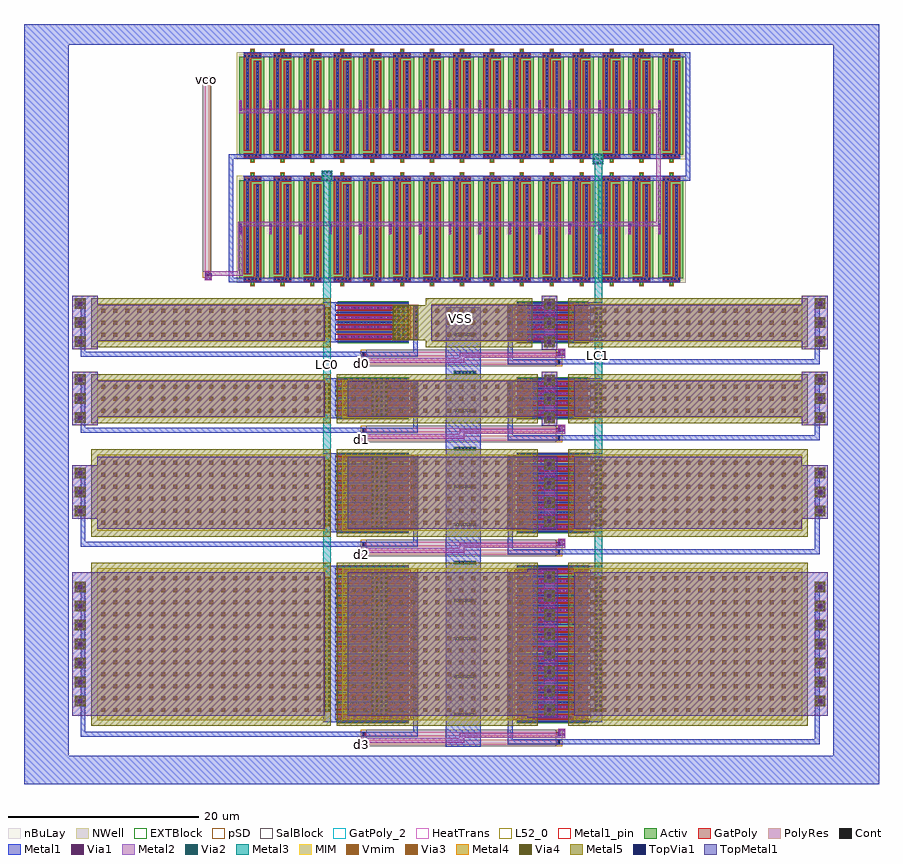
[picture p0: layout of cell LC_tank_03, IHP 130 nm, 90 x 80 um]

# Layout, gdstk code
from math import pi, radians
import gdstk
lib = gdstk.Library(unit=1e-6, precision=1e-09)
def R(c, l, rs):  # rectangles x0, y0, x1, y1
    for r in rs: c.add(gdstk.rectangle(r[:2], r[2:], *l))
def A(c, l, x, y, w, h, nx, ny, dx, dy):  # array of equal rectangles
    R(c, l, [(x+i*dx, y+j*dy, x+i*dx+w, y+j*dy+h) for i in range(nx) for j in range(ny)])
def P(c, l, *ps):  # polygons
    for p in ps: c.add(gdstk.Polygon(p, *l))
Activ = (1, 0)
GatPoly = (5, 0)
GatPoly_2 = (5, 2)
Cont = (6, 0)
Metal1 = (8, 0)
Metal1_pin = (8, 2)
Metal2 = (10, 0)
pSD = (14, 0)
Via1 = (19, 0)
SalBlock = (28, 0)
Via2 = (29, 0)
Metal3 = (30, 0)
NWell = (31, 0)
nBuLay = (32, 0)
MIM = (36, 0)
Via3 = (49, 0)
Metal4 = (50, 0)
HeatTrans = (51, 0)
L52_0 = (52, 0)
Via4 = (66, 0)
Metal5 = (67, 0)
EXTBlock = (111, 0)
TopVia1 = (125, 0)
TopMetal1 = (126, 0)
PolyRes = (128, 0)
Vmim = (129, 0)

via_stack_6 = lib.new_cell('via_stack$6')
R(via_stack_6, Metal2, [(-0.555,-0.555,0.555,0.555)])
A(via_stack_6, Via2, -0.505, -0.505, 0.19, 0.19, 3, 3, 0.41, 0.41)
R(via_stack_6, Metal3, [(-0.555,-0.555,0.555,0.555)])
A(via_stack_6, Via3, -0.505, -0.505, 0.19, 0.19, 3, 3, 0.41, 0.41)
R(via_stack_6, Metal4, [(-0.555,-0.555,0.555,0.555)])
A(via_stack_6, Via4, -0.505, -0.505, 0.19, 0.19, 3, 3, 0.41, 0.41)
R(via_stack_6, Metal5, [(-0.555,-0.555,0.555,0.555), (-0.31,-0.31,0.31,0.31)])
R(via_stack_6, TopVia1, [(-0.21,-0.21,0.21,0.21)])
R(via_stack_6, TopMetal1, [(-0.82,-0.82,0.82,0.82)])

via_stack_9 = lib.new_cell('via_stack$9')
R(via_stack_9, Metal1, [(-3.745,-0.145,3.745,0.145)])
R(via_stack_9, Metal2, [(-3.745,-0.145,3.745,0.145)])
A(via_stack_9, Via1, -3.695, -0.095, 0.19, 0.19, 16, 1, 0.48, 0)

via_stack_16 = lib.new_cell('via_stack$16')
R(via_stack_16, Metal2, [(-0.865,-1.825,0.865,1.825)])
A(via_stack_16, Via2, -0.815, -1.775, 0.19, 0.19, 4, 8, 0.48, 0.48)
R(via_stack_16, Metal3, [(-0.865,-1.825,0.865,1.825)])
A(via_stack_16, Via3, -0.815, -1.775, 0.19, 0.19, 4, 8, 0.48, 0.48)
R(via_stack_16, Metal4, [(-0.865,-1.825,0.865,1.825)])
A(via_stack_16, Via4, -0.815, -1.775, 0.19, 0.19, 4, 8, 0.48, 0.48)
R(via_stack_16, Metal5, [(-0.865,-1.825,0.865,1.825)])

via_stack_15 = lib.new_cell('via_stack$15')
R(via_stack_15, Metal1, [(-1.585,-0.385,1.585,0.385)])
R(via_stack_15, Metal2, [(-1.585,-0.385,1.585,0.385)])
A(via_stack_15, Via1, -1.535, -0.335, 0.19, 0.19, 7, 2, 0.48, 0.48)
A(via_stack_15, Via2, -1.535, -0.335, 0.19, 0.19, 7, 2, 0.48, 0.48)
R(via_stack_15, Metal3, [(-1.585,-0.385,1.585,0.385)])
A(via_stack_15, Via3, -1.535, -0.335, 0.19, 0.19, 7, 2, 0.48, 0.48)
R(via_stack_15, Metal4, [(-1.585,-0.385,1.585,0.385)])
A(via_stack_15, Via4, -1.535, -0.335, 0.19, 0.19, 7, 2, 0.48, 0.48)
R(via_stack_15, Metal5, [(-1.585,-0.385,1.585,0.385)])

via_stack = lib.new_cell('via_stack')
R(via_stack, Metal1, [(-0.555,-0.555,0.555,0.555)])
R(via_stack, Metal2, [(-0.555,-0.555,0.555,0.555)])
A(via_stack, Via1, -0.505, -0.505, 0.19, 0.19, 3, 3, 0.41, 0.41)
A(via_stack, Via2, -0.505, -0.505, 0.19, 0.19, 3, 3, 0.41, 0.41)
R(via_stack, Metal3, [(-0.555,-0.555,0.555,0.555)])
A(via_stack, Via3, -0.505, -0.505, 0.19, 0.19, 3, 3, 0.41, 0.41)
R(via_stack, Metal4, [(-0.555,-0.555,0.555,0.555)])
A(via_stack, Via4, -0.505, -0.505, 0.19, 0.19, 3, 3, 0.41, 0.41)
R(via_stack, Metal5, [(-0.555,-0.555,0.555,0.555), (-0.31,-0.31,0.31,0.31)])
R(via_stack, TopVia1, [(-0.21,-0.21,0.21,0.21)])
R(via_stack, TopMetal1, [(-0.82,-0.82,0.82,0.82)])

cmim_13 = lib.new_cell('cmim$13')
R(cmim_13, MIM, [(0,0,24,4)])
R(cmim_13, Metal5, [(-0.6,-0.6,24.6,4.6)])
R(cmim_13, TopMetal1, [(0.025,0.105,23.965,3.885)])
A(cmim_13, Vmim, 0.445, 0.525, 0.42, 0.42, 19, 3, 1.26, 1.26)

cgm1_9x1_3_1 = lib.new_cell('cGM1_9x1$3$1')
R(cgm1_9x1_3_1, GatPoly, [(0,0,0.3,3.195)])
A(cgm1_9x1_3_1, Cont, 0.07, 0.07, 0.16, 0.16, 1, 3, 0, 0.36)
R(cgm1_9x1_3_1, Cont, [(0.07,1.155,0.23,1.315), (0.07,1.515,0.23,1.675), (0.07,1.88,0.23,2.04), (0.07,2.24,0.23,2.4), (0.07,2.605,0.23,2.765), (0.07,2.965,0.23,3.125)])
R(cgm1_9x1_3_1, Metal1, [(0.07,0,0.23,3.195)])

nmos_3 = lib.new_cell('nmos$3')
A(nmos_3, Activ, 0, 0, 0.3, 0.3, 9, 1, 0.51, 0)
R(nmos_3, Activ, [(0,0,4.38,7.5)])
A(nmos_3, GatPoly, 0.34, -0.18, 0.13, 7.86, 8, 1, 0.51, 0)
R(nmos_3, GatPoly_2, [(0.34,-0.18,0.47,7.68)])
A(nmos_3, Cont, 0.07, 0.07, 0.16, 0.16, 9, 2, 0.51, 0.34)
A(nmos_3, Cont, 0.07, 0.755, 0.16, 0.16, 9, 2, 0.51, 0.34)
A(nmos_3, Cont, 0.07, 1.44, 0.16, 0.16, 9, 2, 0.51, 0.34)
A(nmos_3, Cont, 0.07, 2.125, 0.16, 0.16, 9, 2, 0.51, 0.345)
A(nmos_3, Cont, 0.07, 2.81, 0.16, 0.16, 9, 2, 0.51, 0.345)
A(nmos_3, Cont, 0.07, 3.495, 0.16, 0.16, 9, 2, 0.51, 0.345)
A(nmos_3, Cont, 0.07, 4.18, 0.16, 0.16, 9, 3, 0.51, 0.345)
A(nmos_3, Cont, 0.07, 5.21, 0.16, 0.16, 9, 2, 0.51, 0.345)
A(nmos_3, Cont, 0.07, 5.895, 0.16, 0.16, 9, 2, 0.51, 0.345)
A(nmos_3, Cont, 0.07, 6.58, 0.16, 0.16, 9, 3, 0.51, 0.345)
A(nmos_3, Metal1, 0.07, 0, 0.16, 7.5, 9, 1, 0.51, 0)
R(nmos_3, Metal1_pin, [(0.07,0,0.23,7.5), (0.58,0,0.74,7.5)])
A(nmos_3, HeatTrans, 0.34, -0.18, 0.13, 7.86, 8, 1, 0.51, 0)
nmos_3.add(gdstk.Label('nmos', (0.405,3.75), layer=63, texttype=0))
nmos_3.add(gdstk.Label('nmos', (0.405,3.75), layer=51, texttype=0))
nmos_3.add(gdstk.Label('nmos', (0.915,3.75), layer=51, texttype=0))
nmos_3.add(gdstk.Label('nmos', (1.425,3.75), layer=51, texttype=0))
nmos_3.add(gdstk.Label('nmos', (1.935,3.75), layer=51, texttype=0))
nmos_3.add(gdstk.Label('nmos', (2.445,3.75), layer=51, texttype=0))
nmos_3.add(gdstk.Label('nmos', (2.955,3.75), layer=51, texttype=0))
nmos_3.add(gdstk.Label('nmos', (3.465,3.75), layer=51, texttype=0))
nmos_3.add(gdstk.Label('nmos', (3.975,3.75), layer=51, texttype=0))

via_stack_17 = lib.new_cell('via_stack$17')
R(via_stack_17, Metal1, [(-0.35,-0.35,0.35,0.35)])
R(via_stack_17, Metal2, [(-0.35,-0.35,0.35,0.35)])
R(via_stack_17, Via1, [(-0.3,-0.3,-0.11,-0.11), (0.11,-0.3,0.3,-0.11), (-0.3,0.11,-0.11,0.3), (0.11,0.11,0.3,0.3)])

cmim_6 = lib.new_cell('cmim$6')
R(cmim_6, MIM, [(0,0,10,4)])
R(cmim_6, Metal5, [(-0.6,-0.6,10.6,4.6)])
R(cmim_6, TopMetal1, [(-0.045,0.105,10.035,3.885)])
A(cmim_6, Vmim, 0.375, 0.525, 0.42, 0.42, 8, 3, 1.26, 1.26)

rppd_1 = lib.new_cell('rppd$1')
R(rppd_1, GatPoly, [(0,-0.43,0.5,-0.2), (0,-0.2,0.5,0), (0,20,0.5,20.2), (0,20.2,0.5,20.43)])
R(rppd_1, Cont, [(0.07,-0.36,0.43,-0.2), (0.07,20.2,0.43,20.36)])
R(rppd_1, Metal1, [(0.02,-0.43,0.48,-0.13), (0.02,20.13,0.48,20.43)])
R(rppd_1, Metal1_pin, [(0.02,-0.43,0.48,-0.13), (0.02,20.13,0.48,20.43)])
R(rppd_1, pSD, [(-0.18,-0.61,0.68,0), (-0.18,0,0.68,20), (-0.18,20,0.68,20.61)])
R(rppd_1, SalBlock, [(-0.2,0,0.7,20)])
R(rppd_1, L52_0, [(0,0,0.5,20)])
R(rppd_1, EXTBlock, [(-0.18,-0.61,0.68,0), (-0.2,0,0.7,20), (-0.18,20,0.68,20.61)])
R(rppd_1, PolyRes, [(0,0,0.5,20)])
rppd_1.add(gdstk.Label('rpnd r=10416.680', (0.25,10), layer=63, texttype=0))
rppd_1.add(gdstk.Label('rppd', (0.25,10), layer=52, texttype=0))

sw_nmos_d0 = lib.new_cell('SW_nmos_d0')
R(sw_nmos_d0, GatPoly, [(35.58,2.855,36.4,6.555), (45.78,2.855,46.6,6.555)])
A(sw_nmos_d0, Metal1, 27.7, 2.585, 0.2, 0.16, 1, 5, 0, 1.02)
A(sw_nmos_d0, Metal1, 54.28, 2.585, 0.2, 0.16, 1, 5, 0, 1.02)
R(sw_nmos_d0, Metal1, [(26.415,2.585,27.7,6.825), (54.48,2.585,55.765,6.825)])
R(sw_nmos_d0, Metal2, [(49.645,2.095,50.755,6.155)])
R(sw_nmos_d0, Metal5, [(35.465,2.825,37.2,6.475)])
R(sw_nmos_d0, TopMetal1, [(0,1.85,2.645,7.49), (76.775,1.85,79.52,7.49), (47.845,2.765,51.02,6.545)])
sw_nmos_d0.add(gdstk.FlexPath([(46.08,6.365),(46.08,0.55),(78.4,0.55),(78.4,7.225)], 0.5, ends="flush", simple_path=True, layer=8, datatype=0))  # Metal1
sw_nmos_d0.add(gdstk.FlexPath([(36.1,6.365),(36.1,1.35),(1.1,1.35),(1.1,7.225)], 0.5, ends="flush", simple_path=True, layer=8, datatype=0))  # Metal1
r = gdstk.Reference(via_stack_6, (50.2,2.65), rotation=pi/2); r.repetition = gdstk.Repetition(3, 1, v1=(0,2), v2=(0,0)); sw_nmos_d0.add(r)
r = gdstk.Reference(via_stack_9, (50.53,6.235), x_reflection=True); r.repetition = gdstk.Repetition(1, 4, v1=(0,0), v2=(0,-1.02)); sw_nmos_d0.add(r)
sw_nmos_d0.add(gdstk.Reference(via_stack_16, (34.6,4.65), rotation=pi))
sw_nmos_d0.add(gdstk.Reference(via_stack_15, (26.8,4.705), rotation=pi/2))
r = gdstk.Reference(via_stack, (78.7,2.67), rotation=pi/2); r.repetition = gdstk.Repetition(3, 1, v1=(0,2), v2=(0,0)); sw_nmos_d0.add(r)
sw_nmos_d0.add(gdstk.Reference(cmim_13, (26.6,6.65), rotation=pi))
sw_nmos_d0.add(gdstk.Reference(via_stack_15, (55.38,4.705), rotation=pi/2))
sw_nmos_d0.add(gdstk.Reference(cmim_13, (76.8,6.65), rotation=pi))
r = gdstk.Reference(via_stack, (0.82,2.67), rotation=pi/2); r.repetition = gdstk.Repetition(3, 1, v1=(0,2), v2=(0,0)); sw_nmos_d0.add(r)
r = gdstk.Reference(via_stack_9, (31.65,6.235), rotation=pi); r.repetition = gdstk.Repetition(1, 4, v1=(0,0), v2=(0,-1.02)); sw_nmos_d0.add(r)
sw_nmos_d0.add(gdstk.Reference(cgm1_9x1_3_1, (36.03,3.17)))
sw_nmos_d0.add(gdstk.Reference(nmos_3, (35.4,2.515), rotation=pi/2))
sw_nmos_d0.add(gdstk.Reference(cgm1_9x1_3_1, (46.15,3.17), rotation=pi, x_reflection=True))
sw_nmos_d0.add(gdstk.Reference(nmos_3, (46.78,2.515), rotation=pi/2, x_reflection=True))
sw_nmos_d0.add(gdstk.Reference(via_stack_17, (30.4,0.35), rotation=pi/2))
sw_nmos_d0.add(gdstk.Reference(via_stack_17, (51.5,1.55), rotation=pi/2))
sw_nmos_d0.add(gdstk.Reference(cmim_6, (47.8,6.65), rotation=pi))
r = gdstk.Reference(rppd_1, (50.94,0.25), rotation=pi/2); r.repetition = gdstk.Repetition(2, 1, v1=(0,0.86), v2=(0,0)); sw_nmos_d0.add(r)

cgm1_9x1_3_1_1 = lib.new_cell('cGM1_9x1$3$1$1')
R(cgm1_9x1_3_1_1, GatPoly, [(0,0,0.3,3.195)])
A(cgm1_9x1_3_1_1, Cont, 0.07, 0.07, 0.16, 0.16, 1, 3, 0, 0.36)
R(cgm1_9x1_3_1_1, Cont, [(0.07,1.155,0.23,1.315), (0.07,1.515,0.23,1.675), (0.07,1.88,0.23,2.04), (0.07,2.24,0.23,2.4), (0.07,2.605,0.23,2.765), (0.07,2.965,0.23,3.125)])
R(cgm1_9x1_3_1_1, Metal1, [(0.07,0,0.23,3.195)])

cmim_9 = lib.new_cell('cmim$9')
R(cmim_9, MIM, [(0,0,20,4)])
R(cmim_9, Metal5, [(-0.6,-0.6,20.6,4.6)])
R(cmim_9, TopMetal1, [(0.545,0.105,19.445,3.885)])
A(cmim_9, Vmim, 0.965, 0.525, 0.42, 0.42, 15, 3, 1.26, 1.26)

sw_nmos_d1 = lib.new_cell('SW_nmos_d1')
R(sw_nmos_d1, GatPoly, [(35.58,2.855,36.4,6.555), (45.78,2.855,46.6,6.555)])
A(sw_nmos_d1, Metal1, 27.7, 2.585, 0.2, 0.16, 1, 5, 0, 1.02)
A(sw_nmos_d1, Metal1, 54.28, 2.585, 0.2, 0.16, 1, 5, 0, 1.02)
R(sw_nmos_d1, Metal1, [(26.415,2.585,27.7,6.825), (54.48,2.585,55.765,6.825)])
R(sw_nmos_d1, Metal2, [(49.645,2.095,50.755,7.185)])
R(sw_nmos_d1, TopMetal1, [(0,1.85,2.645,7.49), (76.775,1.85,79.52,7.49), (47.855,2.765,51.02,6.545)])
sw_nmos_d1.add(gdstk.FlexPath([(46.08,6.365),(46.08,0.55),(78.4,0.55),(78.4,7.225)], 0.5, ends="flush", simple_path=True, layer=8, datatype=0))  # Metal1
sw_nmos_d1.add(gdstk.FlexPath([(36.1,6.365),(36.1,1.35),(1.1,1.35),(1.1,7.225)], 0.5, ends="flush", simple_path=True, layer=8, datatype=0))  # Metal1
r = gdstk.Reference(via_stack_6, (50.2,2.65), rotation=pi/2); r.repetition = gdstk.Repetition(3, 1, v1=(0,2), v2=(0,0)); sw_nmos_d1.add(r)
r = gdstk.Reference(via_stack_9, (50.53,6.235), x_reflection=True); r.repetition = gdstk.Repetition(1, 4, v1=(0,0), v2=(0,-1.02)); sw_nmos_d1.add(r)
sw_nmos_d1.add(gdstk.Reference(via_stack_16, (32.3,4.65), rotation=pi))
sw_nmos_d1.add(gdstk.Reference(via_stack_15, (26.8,4.705), rotation=pi/2))
r = gdstk.Reference(via_stack, (78.7,2.67), rotation=pi/2); r.repetition = gdstk.Repetition(3, 1, v1=(0,2), v2=(0,0)); sw_nmos_d1.add(r)
sw_nmos_d1.add(gdstk.Reference(cmim_13, (26.6,6.65), rotation=pi))
sw_nmos_d1.add(gdstk.Reference(via_stack_15, (55.38,4.705), rotation=pi/2))
sw_nmos_d1.add(gdstk.Reference(cmim_13, (76.8,6.65), rotation=pi))
r = gdstk.Reference(via_stack, (0.82,2.67), rotation=pi/2); r.repetition = gdstk.Repetition(3, 1, v1=(0,2), v2=(0,0)); sw_nmos_d1.add(r)
r = gdstk.Reference(via_stack_9, (31.65,6.235), rotation=pi); r.repetition = gdstk.Repetition(1, 4, v1=(0,0), v2=(0,-1.02)); sw_nmos_d1.add(r)
sw_nmos_d1.add(gdstk.Reference(cgm1_9x1_3_1_1, (36.03,3.17)))
sw_nmos_d1.add(gdstk.Reference(nmos_3, (35.4,2.515), rotation=pi/2))
sw_nmos_d1.add(gdstk.Reference(cgm1_9x1_3_1_1, (46.15,3.17), rotation=pi, x_reflection=True))
sw_nmos_d1.add(gdstk.Reference(nmos_3, (46.78,2.515), rotation=pi/2, x_reflection=True))
sw_nmos_d1.add(gdstk.Reference(via_stack_17, (30.4,0.35), rotation=pi/2))
sw_nmos_d1.add(gdstk.Reference(via_stack_17, (51.5,1.55), rotation=pi/2))
sw_nmos_d1.add(gdstk.Reference(cmim_9, (48.4,6.65), rotation=pi))
r = gdstk.Reference(rppd_1, (50.94,0.25), rotation=pi/2); r.repetition = gdstk.Repetition(2, 1, v1=(0,0.86), v2=(0,0)); sw_nmos_d1.add(r)

via_stack_14 = lib.new_cell('via_stack$14')
R(via_stack_14, Metal2, [(-0.865,-3.745,0.865,3.745)])
A(via_stack_14, Via2, -0.815, -3.695, 0.19, 0.19, 4, 16, 0.48, 0.48)
R(via_stack_14, Metal3, [(-0.865,-3.745,0.865,3.745)])
A(via_stack_14, Via3, -0.815, -3.695, 0.19, 0.19, 4, 16, 0.48, 0.48)
R(via_stack_14, Metal4, [(-0.865,-3.745,0.865,3.745)])
A(via_stack_14, Via4, -0.815, -3.695, 0.19, 0.19, 4, 16, 0.48, 0.48)
R(via_stack_14, Metal5, [(-0.865,-3.745,0.865,3.745)])

via_stack_12 = lib.new_cell('via_stack$12')
R(via_stack_12, Metal1, [(-3.505,-0.385,3.505,0.385)])
R(via_stack_12, Metal2, [(-3.505,-0.385,3.505,0.385)])
A(via_stack_12, Via1, -3.455, -0.335, 0.19, 0.19, 15, 2, 0.48, 0.48)
A(via_stack_12, Via2, -3.455, -0.335, 0.19, 0.19, 15, 2, 0.48, 0.48)
R(via_stack_12, Metal3, [(-3.505,-0.385,3.505,0.385)])
A(via_stack_12, Via3, -3.455, -0.335, 0.19, 0.19, 15, 2, 0.48, 0.48)
R(via_stack_12, Metal4, [(-3.505,-0.385,3.505,0.385)])
A(via_stack_12, Via4, -3.455, -0.335, 0.19, 0.19, 15, 2, 0.48, 0.48)
R(via_stack_12, Metal5, [(-3.505,-0.385,3.505,0.385)])

cmim_12 = lib.new_cell('cmim$12')
R(cmim_12, MIM, [(0,0,24,8)])
R(cmim_12, Metal5, [(-0.6,-0.6,24.6,8.6)])
R(cmim_12, TopMetal1, [(0.025,0.215,23.965,7.775)])
A(cmim_12, Vmim, 0.445, 0.635, 0.42, 0.42, 19, 6, 1.26, 1.26)

cgm1_9x1_3 = lib.new_cell('cGM1_9x1$3')
R(cgm1_9x1_3, GatPoly, [(0,0,0.3,3.195)])
A(cgm1_9x1_3, Cont, 0.07, 0.07, 0.16, 0.16, 1, 3, 0, 0.36)
R(cgm1_9x1_3, Cont, [(0.07,1.155,0.23,1.315), (0.07,1.515,0.23,1.675), (0.07,1.88,0.23,2.04), (0.07,2.24,0.23,2.4), (0.07,2.605,0.23,2.765), (0.07,2.965,0.23,3.125)])
R(cgm1_9x1_3, Metal1, [(0.07,0,0.23,3.195)])

nmos_5 = lib.new_cell('nmos$5')
A(nmos_5, Activ, 0, 0, 0.3, 0.3, 17, 1, 0.51, 0)
R(nmos_5, Activ, [(0,0,8.46,7.5)])
A(nmos_5, GatPoly, 0.34, -0.18, 0.13, 7.86, 16, 1, 0.51, 0)
R(nmos_5, GatPoly_2, [(0.34,-0.18,0.47,7.68)])
A(nmos_5, Cont, 0.07, 0.07, 0.16, 0.16, 17, 2, 0.51, 0.34)
A(nmos_5, Cont, 0.07, 0.755, 0.16, 0.16, 17, 2, 0.51, 0.34)
A(nmos_5, Cont, 0.07, 1.44, 0.16, 0.16, 17, 2, 0.51, 0.34)
A(nmos_5, Cont, 0.07, 2.125, 0.16, 0.16, 17, 2, 0.51, 0.345)
A(nmos_5, Cont, 0.07, 2.81, 0.16, 0.16, 17, 2, 0.51, 0.345)
A(nmos_5, Cont, 0.07, 3.495, 0.16, 0.16, 17, 2, 0.51, 0.345)
A(nmos_5, Cont, 0.07, 4.18, 0.16, 0.16, 17, 3, 0.51, 0.345)
A(nmos_5, Cont, 0.07, 5.21, 0.16, 0.16, 17, 2, 0.51, 0.345)
A(nmos_5, Cont, 0.07, 5.895, 0.16, 0.16, 17, 2, 0.51, 0.345)
A(nmos_5, Cont, 0.07, 6.58, 0.16, 0.16, 17, 3, 0.51, 0.345)
A(nmos_5, Metal1, 0.07, 0, 0.16, 7.5, 17, 1, 0.51, 0)
R(nmos_5, Metal1_pin, [(0.07,0,0.23,7.5), (0.58,0,0.74,7.5)])
A(nmos_5, HeatTrans, 0.34, -0.18, 0.13, 7.86, 16, 1, 0.51, 0)
nmos_5.add(gdstk.Label('nmos', (0.405,3.75), layer=63, texttype=0))
nmos_5.add(gdstk.Label('nmos', (0.405,3.75), layer=51, texttype=0))
nmos_5.add(gdstk.Label('nmos', (0.915,3.75), layer=51, texttype=0))
nmos_5.add(gdstk.Label('nmos', (1.425,3.75), layer=51, texttype=0))
nmos_5.add(gdstk.Label('nmos', (1.935,3.75), layer=51, texttype=0))
nmos_5.add(gdstk.Label('nmos', (2.445,3.75), layer=51, texttype=0))
nmos_5.add(gdstk.Label('nmos', (2.955,3.75), layer=51, texttype=0))
nmos_5.add(gdstk.Label('nmos', (3.465,3.75), layer=51, texttype=0))
nmos_5.add(gdstk.Label('nmos', (3.975,3.75), layer=51, texttype=0))
nmos_5.add(gdstk.Label('nmos', (4.485,3.75), layer=51, texttype=0))
nmos_5.add(gdstk.Label('nmos', (4.995,3.75), layer=51, texttype=0))
nmos_5.add(gdstk.Label('nmos', (5.505,3.75), layer=51, texttype=0))
nmos_5.add(gdstk.Label('nmos', (6.015,3.75), layer=51, texttype=0))
nmos_5.add(gdstk.Label('nmos', (6.525,3.75), layer=51, texttype=0))
nmos_5.add(gdstk.Label('nmos', (7.035,3.75), layer=51, texttype=0))
nmos_5.add(gdstk.Label('nmos', (7.545,3.75), layer=51, texttype=0))
nmos_5.add(gdstk.Label('nmos', (8.055,3.75), layer=51, texttype=0))

cmim_10 = lib.new_cell('cmim$10')
R(cmim_10, MIM, [(0,0,20,8)])
R(cmim_10, Metal5, [(-0.6,-0.6,20.6,8.6)])
R(cmim_10, TopMetal1, [(0.545,0.215,19.445,7.775)])
A(cmim_10, Vmim, 0.965, 0.635, 0.42, 0.42, 15, 6, 1.26, 1.26)

sw_nmos_d2 = lib.new_cell('SW_nmos_d2')
R(sw_nmos_d2, GatPoly, [(35.58,2.855,36.4,10.635), (45.78,2.855,46.6,10.635)])
A(sw_nmos_d2, Metal1, 27.7, 2.585, 0.2, 0.16, 1, 9, 0, 1.02)
A(sw_nmos_d2, Metal1, 54.28, 2.585, 0.2, 0.16, 1, 9, 0, 1.02)
R(sw_nmos_d2, Metal1, [(26.415,2.585,27.7,10.905), (54.48,2.585,55.765,10.905)])
R(sw_nmos_d2, Metal2, [(49.645,3.11,50.755,10.25)])
R(sw_nmos_d2, TopMetal1, [(47.855,2.93,51.02,10.57), (0,4,2.645,9.64), (76.775,4,79.52,9.64)])
sw_nmos_d2.add(gdstk.FlexPath([(46.08,10.365),(46.08,0.55),(78.4,0.55),(78.4,9.375)], 0.5, ends="flush", simple_path=True, layer=8, datatype=0))  # Metal1
sw_nmos_d2.add(gdstk.FlexPath([(36.1,10.365),(36.1,1.35),(1.1,1.35),(1.1,9.375)], 0.5, ends="flush", simple_path=True, layer=8, datatype=0))  # Metal1
r = gdstk.Reference(via_stack_6, (50.2,3.75), rotation=pi/2); r.repetition = gdstk.Repetition(4, 1, v1=(0,2), v2=(0,0)); sw_nmos_d2.add(r)
r = gdstk.Reference(via_stack_9, (50.53,10.315), x_reflection=True); r.repetition = gdstk.Repetition(1, 8, v1=(0,0), v2=(0,-1.02)); sw_nmos_d2.add(r)
sw_nmos_d2.add(gdstk.Reference(via_stack_14, (32.3,6.75), rotation=pi))
sw_nmos_d2.add(gdstk.Reference(via_stack_17, (30.4,0.35), rotation=pi/2))
sw_nmos_d2.add(gdstk.Reference(via_stack_12, (26.8,6.745), rotation=pi/2))
r = gdstk.Reference(via_stack, (78.7,4.82), rotation=pi/2); r.repetition = gdstk.Repetition(3, 1, v1=(0,2), v2=(0,0)); sw_nmos_d2.add(r)
sw_nmos_d2.add(gdstk.Reference(cmim_12, (26.6,10.75), rotation=pi))
sw_nmos_d2.add(gdstk.Reference(via_stack_12, (55.38,6.745), rotation=pi/2))
sw_nmos_d2.add(gdstk.Reference(cmim_12, (76.8,10.75), rotation=pi))
r = gdstk.Reference(via_stack, (0.82,4.82), rotation=pi/2); r.repetition = gdstk.Repetition(3, 1, v1=(0,2), v2=(0,0)); sw_nmos_d2.add(r)
r = gdstk.Reference(via_stack_9, (31.65,10.315), rotation=pi); r.repetition = gdstk.Repetition(1, 8, v1=(0,0), v2=(0,-1.02)); sw_nmos_d2.add(r)
r = gdstk.Reference(cgm1_9x1_3, (36.03,3.17)); r.repetition = gdstk.Repetition(1, 2, v1=(0,0), v2=(0,4)); sw_nmos_d2.add(r)
sw_nmos_d2.add(gdstk.Reference(nmos_5, (35.4,2.515), rotation=pi/2))
r = gdstk.Reference(cgm1_9x1_3, (46.15,3.17), rotation=pi, x_reflection=True); r.repetition = gdstk.Repetition(1, 2, v1=(0,0), v2=(0,4)); sw_nmos_d2.add(r)
sw_nmos_d2.add(gdstk.Reference(nmos_5, (46.78,2.515), rotation=pi/2, x_reflection=True))
sw_nmos_d2.add(gdstk.Reference(via_stack_17, (51.5,1.55), rotation=pi/2))
sw_nmos_d2.add(gdstk.Reference(cmim_10, (48.4,10.75), rotation=pi))
r = gdstk.Reference(rppd_1, (50.94,0.25), rotation=pi/2); r.repetition = gdstk.Repetition(2, 1, v1=(0,0.86), v2=(0,0)); sw_nmos_d2.add(r)

cmim_2 = lib.new_cell('cmim$2')
R(cmim_2, MIM, [(0,0,20,16)])
R(cmim_2, Metal5, [(-0.6,-0.6,20.6,16.6)])
R(cmim_2, TopMetal1, [(0.545,0.435,19.445,15.555)])
A(cmim_2, Vmim, 0.965, 0.855, 0.42, 0.42, 15, 12, 1.26, 1.26)

cgm1_9x1 = lib.new_cell('cGM1_9x1')
R(cgm1_9x1, GatPoly, [(0,0,0.3,3.195)])
A(cgm1_9x1, Cont, 0.07, 0.07, 0.16, 0.16, 1, 3, 0, 0.36)
R(cgm1_9x1, Cont, [(0.07,1.155,0.23,1.315), (0.07,1.515,0.23,1.675), (0.07,1.88,0.23,2.04), (0.07,2.24,0.23,2.4), (0.07,2.605,0.23,2.765), (0.07,2.965,0.23,3.125)])
R(cgm1_9x1, Metal1, [(0.07,0,0.23,3.195)])

nmos = lib.new_cell('nmos')
A(nmos, Activ, 0, 0, 0.3, 0.3, 33, 1, 0.51, 0)
R(nmos, Activ, [(0,0,16.62,7.5)])
A(nmos, GatPoly, 0.34, -0.18, 0.13, 7.86, 32, 1, 0.51, 0)
R(nmos, GatPoly_2, [(0.34,-0.18,0.47,7.68)])
A(nmos, Cont, 0.07, 0.07, 0.16, 0.16, 33, 2, 0.51, 0.34)
A(nmos, Cont, 0.07, 0.755, 0.16, 0.16, 33, 2, 0.51, 0.34)
A(nmos, Cont, 0.07, 1.44, 0.16, 0.16, 33, 2, 0.51, 0.34)
A(nmos, Cont, 0.07, 2.125, 0.16, 0.16, 33, 2, 0.51, 0.345)
A(nmos, Cont, 0.07, 2.81, 0.16, 0.16, 33, 2, 0.51, 0.345)
A(nmos, Cont, 0.07, 3.495, 0.16, 0.16, 33, 2, 0.51, 0.345)
A(nmos, Cont, 0.07, 4.18, 0.16, 0.16, 33, 3, 0.51, 0.345)
A(nmos, Cont, 0.07, 5.21, 0.16, 0.16, 33, 2, 0.51, 0.345)
A(nmos, Cont, 0.07, 5.895, 0.16, 0.16, 33, 2, 0.51, 0.345)
A(nmos, Cont, 0.07, 6.58, 0.16, 0.16, 33, 3, 0.51, 0.345)
A(nmos, Metal1, 0.07, 0, 0.16, 7.5, 33, 1, 0.51, 0)
R(nmos, Metal1_pin, [(0.07,0,0.23,7.5), (0.58,0,0.74,7.5)])
A(nmos, HeatTrans, 0.34, -0.18, 0.13, 7.86, 32, 1, 0.51, 0)
nmos.add(gdstk.Label('nmos', (0.405,3.75), layer=63, texttype=0))
nmos.add(gdstk.Label('nmos', (0.405,3.75), layer=51, texttype=0))
nmos.add(gdstk.Label('nmos', (0.915,3.75), layer=51, texttype=0))
nmos.add(gdstk.Label('nmos', (1.425,3.75), layer=51, texttype=0))
nmos.add(gdstk.Label('nmos', (1.935,3.75), layer=51, texttype=0))
nmos.add(gdstk.Label('nmos', (2.445,3.75), layer=51, texttype=0))
nmos.add(gdstk.Label('nmos', (2.955,3.75), layer=51, texttype=0))
nmos.add(gdstk.Label('nmos', (3.465,3.75), layer=51, texttype=0))
nmos.add(gdstk.Label('nmos', (3.975,3.75), layer=51, texttype=0))
nmos.add(gdstk.Label('nmos', (4.485,3.75), layer=51, texttype=0))
nmos.add(gdstk.Label('nmos', (4.995,3.75), layer=51, texttype=0))
nmos.add(gdstk.Label('nmos', (5.505,3.75), layer=51, texttype=0))
nmos.add(gdstk.Label('nmos', (6.015,3.75), layer=51, texttype=0))
nmos.add(gdstk.Label('nmos', (6.525,3.75), layer=51, texttype=0))
nmos.add(gdstk.Label('nmos', (7.035,3.75), layer=51, texttype=0))
nmos.add(gdstk.Label('nmos', (7.545,3.75), layer=51, texttype=0))
nmos.add(gdstk.Label('nmos', (8.055,3.75), layer=51, texttype=0))
nmos.add(gdstk.Label('nmos', (8.565,3.75), layer=51, texttype=0))
nmos.add(gdstk.Label('nmos', (9.075,3.75), layer=51, texttype=0))
nmos.add(gdstk.Label('nmos', (9.585,3.75), layer=51, texttype=0))
nmos.add(gdstk.Label('nmos', (10.095,3.75), layer=51, texttype=0))
nmos.add(gdstk.Label('nmos', (10.605,3.75), layer=51, texttype=0))
nmos.add(gdstk.Label('nmos', (11.115,3.75), layer=51, texttype=0))
nmos.add(gdstk.Label('nmos', (11.625,3.75), layer=51, texttype=0))
nmos.add(gdstk.Label('nmos', (12.135,3.75), layer=51, texttype=0))
nmos.add(gdstk.Label('nmos', (12.645,3.75), layer=51, texttype=0))
nmos.add(gdstk.Label('nmos', (13.155,3.75), layer=51, texttype=0))
nmos.add(gdstk.Label('nmos', (13.665,3.75), layer=51, texttype=0))
nmos.add(gdstk.Label('nmos', (14.175,3.75), layer=51, texttype=0))
nmos.add(gdstk.Label('nmos', (14.685,3.75), layer=51, texttype=0))
nmos.add(gdstk.Label('nmos', (15.195,3.75), layer=51, texttype=0))
nmos.add(gdstk.Label('nmos', (15.705,3.75), layer=51, texttype=0))
nmos.add(gdstk.Label('nmos', (16.215,3.75), layer=51, texttype=0))

sw_nmos = lib.new_cell('SW_nmos')
R(sw_nmos, GatPoly, [(7.88,0.34,8.7,16.28)])
A(sw_nmos, Metal1, 0, 0.07, 0.2, 0.16, 1, 17, 0, 1.02)
r = gdstk.Reference(via_stack_9, (3.95,15.96), rotation=pi); r.repetition = gdstk.Repetition(1, 16, v1=(0,0), v2=(0,-1.02)); sw_nmos.add(r)
r = gdstk.Reference(cgm1_9x1, (8.33,0.655)); r.repetition = gdstk.Repetition(1, 4, v1=(0,0), v2=(0,4)); sw_nmos.add(r)
sw_nmos.add(gdstk.Reference(nmos, (7.7,0), rotation=pi/2))

via_stack_10 = lib.new_cell('via_stack$10')
R(via_stack_10, Metal2, [(-0.865,-7.585,0.865,7.585)])
A(via_stack_10, Via2, -0.815, -7.535, 0.19, 0.19, 4, 32, 0.48, 0.48)
R(via_stack_10, Metal3, [(-0.865,-7.585,0.865,7.585)])
A(via_stack_10, Via3, -0.815, -7.535, 0.19, 0.19, 4, 32, 0.48, 0.48)
R(via_stack_10, Metal4, [(-0.865,-7.585,0.865,7.585)])
A(via_stack_10, Via4, -0.815, -7.535, 0.19, 0.19, 4, 32, 0.48, 0.48)
R(via_stack_10, Metal5, [(-0.865,-7.585,0.865,7.585)])

via_stack_13 = lib.new_cell('via_stack$13')
R(via_stack_13, Metal1, [(-7.105,-0.385,7.105,0.385)])
R(via_stack_13, Metal2, [(-7.105,-0.385,7.105,0.385)])
A(via_stack_13, Via1, -7.055, -0.335, 0.19, 0.19, 30, 2, 0.48, 0.48)
A(via_stack_13, Via2, -7.055, -0.335, 0.19, 0.19, 30, 2, 0.48, 0.48)
R(via_stack_13, Metal3, [(-7.105,-0.385,7.105,0.385)])
A(via_stack_13, Via3, -7.055, -0.335, 0.19, 0.19, 30, 2, 0.48, 0.48)
R(via_stack_13, Metal4, [(-7.105,-0.385,7.105,0.385)])
A(via_stack_13, Via4, -7.055, -0.335, 0.19, 0.19, 30, 2, 0.48, 0.48)
R(via_stack_13, Metal5, [(-7.105,-0.385,7.105,0.385)])

cmim_8 = lib.new_cell('cmim$8')
R(cmim_8, MIM, [(0,0,24,16)])
R(cmim_8, Metal5, [(-0.6,-0.6,24.6,16.6)])
R(cmim_8, TopMetal1, [(0.025,0.435,23.965,15.555)])
A(cmim_8, Vmim, 0.445, 0.855, 0.42, 0.42, 19, 12, 1.26, 1.26)

sw_nmos_d3 = lib.new_cell('SW_nmos_d3')
R(sw_nmos_d3, Metal1, [(26.415,2.585,27.7,19.065), (54.48,2.585,55.765,19.065)])
R(sw_nmos_d3, Metal2, [(49.645,3.32,50.755,18.62)])
R(sw_nmos_d3, TopMetal1, [(47.855,3.095,51.1,18.735), (0,3.26,2.645,18.38), (76.775,3.26,79.52,18.38)])
sw_nmos_d3.add(gdstk.FlexPath([(46.08,18.365),(46.08,0.55),(78.4,0.55),(78.4,17.375)], 0.5, ends="flush", simple_path=True, layer=8, datatype=0))  # Metal1
sw_nmos_d3.add(gdstk.FlexPath([(36.1,18.365),(36.1,1.35),(1.1,1.35),(1.1,17.375)], 0.5, ends="flush", simple_path=True, layer=8, datatype=0))  # Metal1
sw_nmos_d3.add(gdstk.Reference(cmim_2, (48.4,18.815), rotation=pi))
r = gdstk.Reference(via_stack_6, (50.2,3.915), rotation=pi/2); r.repetition = gdstk.Repetition(8, 1, v1=(0,2), v2=(0,0)); sw_nmos_d3.add(r)
sw_nmos_d3.add(gdstk.Reference(sw_nmos, (27.7,2.515)))
sw_nmos_d3.add(gdstk.Reference(via_stack_10, (32.3,10.815), rotation=pi))
sw_nmos_d3.add(gdstk.Reference(sw_nmos, (54.48,2.515), rotation=pi, x_reflection=True))
sw_nmos_d3.add(gdstk.Reference(via_stack_13, (26.8,10.825), rotation=pi/2))
r = gdstk.Reference(via_stack, (78.7,4.82), rotation=pi/2); r.repetition = gdstk.Repetition(7, 1, v1=(0,2), v2=(0,0)); sw_nmos_d3.add(r)
sw_nmos_d3.add(gdstk.Reference(cmim_8, (26.6,18.815), rotation=pi))
sw_nmos_d3.add(gdstk.Reference(via_stack_13, (55.38,10.825), rotation=pi/2))
sw_nmos_d3.add(gdstk.Reference(cmim_8, (76.8,18.815), rotation=pi))
r = gdstk.Reference(via_stack, (0.82,4.82), rotation=pi/2); r.repetition = gdstk.Repetition(7, 1, v1=(0,2), v2=(0,0)); sw_nmos_d3.add(r)
sw_nmos_d3.add(gdstk.Reference(via_stack_17, (30.4,0.35), rotation=pi/2))
sw_nmos_d3.add(gdstk.Reference(via_stack_17, (51.5,1.55), rotation=pi/2))
r = gdstk.Reference(rppd_1, (50.94,0.25), rotation=pi/2); r.repetition = gdstk.Repetition(2, 1, v1=(0,0.86), v2=(0,0)); sw_nmos_d3.add(r)

bulk_cont_6x1_4 = lib.new_cell('bulk_cont_6x1$4')
A(bulk_cont_6x1_4, Cont, -0.08, -1.035, 0.16, 0.16, 1, 6, 0, 0.38)
R(bulk_cont_6x1_4, Metal1, [(-0.08,-1.105,0.08,1.095)])
bulk_cont_6x1_4.add(gdstk.FlexPath([(0,1.145),(0,-1.145)], 0.3, ends="flush", simple_path=True, layer=1, datatype=0))  # Activ

nmos_bulk_6x1 = lib.new_cell('NMOS-bulk_6x1')
nmos_bulk_6x1.add(gdstk.FlexPath([(-1.185,0),(1.185,0)], 0.36, ends="flush", simple_path=True, layer=14, datatype=0))  # pSD
nmos_bulk_6x1.add(gdstk.Reference(bulk_cont_6x1_4, (-0.01,0), rotation=pi/2))

svaricap_1 = lib.new_cell('SVaricap$1')
R(svaricap_1, Activ, [(1.535,-0.52,1.775,0.24), (0.24,0.24,2.91,10.53), (1.535,10.53,1.775,11.29)])
R(svaricap_1, GatPoly, [(0.73,-0.11,2.58,0.39), (1.78,0.39,2.58,10.13), (0.73,0.64,1.53,10.38), (0.73,10.38,2.58,10.88)])
A(svaricap_1, Cont, 2.1, 2.88, 0.16, 0.16, 1, 3, 0, 0.35)
A(svaricap_1, Cont, 1.05, 3.2, 0.16, 0.16, 1, 3, 0, 0.35)
A(svaricap_1, Cont, 0.31, 4.955, 0.16, 0.16, 1, 3, 0, 0.35)
A(svaricap_1, Cont, 2.1, 6.01, 0.16, 0.16, 1, 3, 0, 0.35)
A(svaricap_1, Cont, 1.05, 6.33, 0.16, 0.16, 1, 3, 0, 0.35)
A(svaricap_1, Cont, 2.1, 9.14, 0.16, 0.16, 1, 3, 0, 0.35)
A(svaricap_1, Cont, 1.05, 9.46, 0.16, 0.16, 1, 3, 0, 0.35)
R(svaricap_1, Cont, [(0.8,0.06,0.96,0.22), (1.185,0.06,1.345,0.22), (1.575,0.06,1.735,0.22), (1.96,0.06,2.12,0.22), (2.35,0.06,2.51,0.22), (2.1,0.45,2.26,0.61), (1.05,0.77,1.21,0.93), (2.1,0.795,2.26,0.955), (1.05,1.115,1.21,1.275), (2.1,1.145,2.26,1.305), (1.05,1.465,1.21,1.625), (2.1,1.49,2.26,1.65), (1.05,1.81,1.21,1.97), (2.1,1.84,2.26,2), (1.05,2.16,1.21,2.32), (2.1,2.185,2.26,2.345), (1.05,2.505,1.21,2.665), (2.1,2.535,2.26,2.695), (1.05,2.855,1.21,3.015), (2.1,3.925,2.26,4.085), (1.05,4.245,1.21,4.405), (2.1,4.275,2.26,4.435), (1.05,4.595,1.21,4.755), (2.1,4.62,2.26,4.78), (1.05,4.94,1.21,5.1), (2.1,4.97,2.26,5.13), (1.05,5.29,1.21,5.45), (2.1,5.315,2.26,5.475), (1.05,5.635,1.21,5.795), (2.1,5.665,2.26,5.825), (1.05,5.985,1.21,6.145), (2.1,7.055,2.26,7.215), (1.05,7.375,1.21,7.535), (2.1,7.405,2.26,7.565), (1.05,7.725,1.21,7.885), (2.1,7.75,2.26,7.91), (1.05,8.07,1.21,8.23), (2.1,8.1,2.26,8.26), (1.05,8.42,1.21,8.58), (2.1,8.445,2.26,8.605), (1.05,8.765,1.21,8.925), (2.1,8.795,2.26,8.955), (1.05,9.115,1.21,9.275), (0.8,10.55,0.96,10.71), (1.185,10.55,1.345,10.71), (1.575,10.55,1.735,10.71), (1.96,10.55,2.12,10.71), (2.35,10.55,2.51,10.71)])
R(svaricap_1, Metal1, [(0.75,0.01,2.56,0.27), (2.05,0.27,2.31,0.4), (2.05,0.4,2.31,10.05), (1,0.72,1.26,10.37), (0.29,4.905,0.49,5.865), (1,10.37,1.26,10.5), (0.75,10.5,2.56,10.76)])
R(svaricap_1, Metal1_pin, [(0.75,0.01,2.56,0.27), (0.29,4.915,0.49,5.855), (0.75,10.5,2.56,10.76)])
R(svaricap_1, pSD, [(1.435,-0.62,1.875,0.14), (1.435,10.63,1.875,11.39)])
R(svaricap_1, NWell, [(0,-0.255,3.15,11.025)])
R(svaricap_1, nBuLay, [(0.24,-0.01,2.91,10.78)])
svaricap_1.add(gdstk.Label('SVaricap', (0.24,0.34), layer=63, texttype=0))

via_stack_18 = lib.new_cell('via_stack$18')
R(via_stack_18, Metal1, [(-0.145,-0.555,0.145,0.555)])
R(via_stack_18, Metal2, [(-0.145,-0.555,0.145,0.555)])
A(via_stack_18, Via1, -0.095, -0.505, 0.19, 0.19, 1, 3, 0, 0.41)

varicap = lib.new_cell('varicap')
varicap.add(gdstk.FlexPath([(0.255,18.445),(44.39,18.445),(44.39,6.555),(0.255,6.555)], 0.5, ends="flush", simple_path=True, layer=10, datatype=0))  # Metal2
varicap.add(gdstk.FlexPath([(0.75,24.37),(47.5,24.37),(47.5,11.37),(0.75,11.37)], 0.5, ends="flush", simple_path=True, layer=8, datatype=0))  # Metal1
varicap.add(gdstk.FlexPath([(46.66,13.64),(-0.6,13.64),(-0.6,0.64),(46.66,0.64)], 0.5, ends="flush", simple_path=True, layer=8, datatype=0))  # Metal1
r = gdstk.Reference(svaricap_1, (0,0.62)); r.repetition = gdstk.Repetition(15, 2, v1=(3.15,0), v2=(0,13)); varicap.add(r)
r = gdstk.Reference(via_stack_18, (0.4,6)); r.repetition = gdstk.Repetition(15, 2, v1=(3.15,0), v2=(0,13)); varicap.add(r)

via_stack_19 = lib.new_cell('via_stack$19')
R(via_stack_19, Metal1, [(-0.555,-0.555,0.555,0.555)])
R(via_stack_19, Metal2, [(-0.555,-0.555,0.555,0.555)])
A(via_stack_19, Via1, -0.505, -0.505, 0.19, 0.19, 3, 3, 0.41, 0.41)
A(via_stack_19, Via2, -0.505, -0.505, 0.19, 0.19, 3, 3, 0.41, 0.41)
R(via_stack_19, Metal3, [(-0.555,-0.555,0.555,0.555)])

lc_tank_03 = lib.new_cell('LC_tank_03')
R(lc_tank_03, Metal1, [(0,0,85.2,3), (85.2,0,90,77.8), (0,3,4.7,77.8), (44.4,3.9,48.1,50.2), (0,77.8,90,80)])
P(lc_tank_03, Metal1, [(80,0),(80,0),(80,0),(80,0)])
R(lc_tank_03, Metal3, [(31.515,21.83,32.285,64.03), (60.095,21.83,60.865,66.28)])
lc_tank_03.add(gdstk.FlexPath([(19.05,53.75),(22.8,53.75),(22.8,59.205)], 0.5, ends="flush", simple_path=True, layer=10, datatype=0))  # Metal2
lc_tank_03.add(gdstk.FlexPath([(56.95,5.1),(46.1,5.1),(46.1,4.6),(35.15,4.6)], 0.5, ends="flush", simple_path=True, layer=10, datatype=0))  # Metal2
lc_tank_03.add(gdstk.FlexPath([(56.95,25.1),(46.1,25.1),(46.1,24.6),(35.15,24.6)], 0.5, ends="flush", simple_path=True, layer=10, datatype=0))  # Metal2
lc_tank_03.add(gdstk.FlexPath([(56.95,37.1),(46.1,37.1),(46.1,36.6),(35.15,36.6)], 0.5, ends="flush", simple_path=True, layer=10, datatype=0))  # Metal2
lc_tank_03.add(gdstk.FlexPath([(56.95,45.1),(46.1,45.1),(46.1,44.6),(35.15,44.6)], 0.5, ends="flush", simple_path=True, layer=10, datatype=0))  # Metal2
lc_tank_03.add(gdstk.Reference(sw_nmos_d0, (5.1,43.9)))
lc_tank_03.add(gdstk.Reference(sw_nmos_d1, (5.1,35.9)))
lc_tank_03.add(gdstk.Reference(sw_nmos_d2, (5.1,23.9)))
lc_tank_03.add(gdstk.Reference(sw_nmos_d3, (5.1,3.9)))
r = gdstk.Reference(nmos_bulk_6x1, (46.4,7.3)); r.repetition = gdstk.Repetition(1, 11, v1=(0,0), v2=(0,4)); lc_tank_03.add(r)
lc_tank_03.add(gdstk.Reference(rppd_1, (19,53.9)))
lc_tank_03.add(gdstk.Reference(varicap, (22.4,52.4)))
lc_tank_03.add(gdstk.Reference(via_stack_19, (31.9,64)))
lc_tank_03.add(gdstk.Reference(via_stack_19, (60.4,65.8)))
lc_tank_03.add(gdstk.Reference(via_stack_17, (19.4,53.4)))
lc_tank_03.add(gdstk.Label('d3', (35.5,4.2), layer=10, texttype=25))
lc_tank_03.add(gdstk.Label('d2', (35.5,24.2), layer=10, texttype=25))
lc_tank_03.add(gdstk.Label('d1', (35.5,36.3), layer=10, texttype=25))
lc_tank_03.add(gdstk.Label('d0', (35.5,44.3), layer=10, texttype=25))
lc_tank_03.add(gdstk.Label('VSS', (45.9,49), layer=8, texttype=25))
lc_tank_03.add(gdstk.Label('vco', (19.2,74.2), layer=8, texttype=25))
lc_tank_03.add(gdstk.Label('LC0', (31.9,44.2), layer=30, texttype=25))
lc_tank_03.add(gdstk.Label('LC1', (60.5,45.1), layer=30, texttype=25))

lib.write_gds('LC_tank_03.gds')
